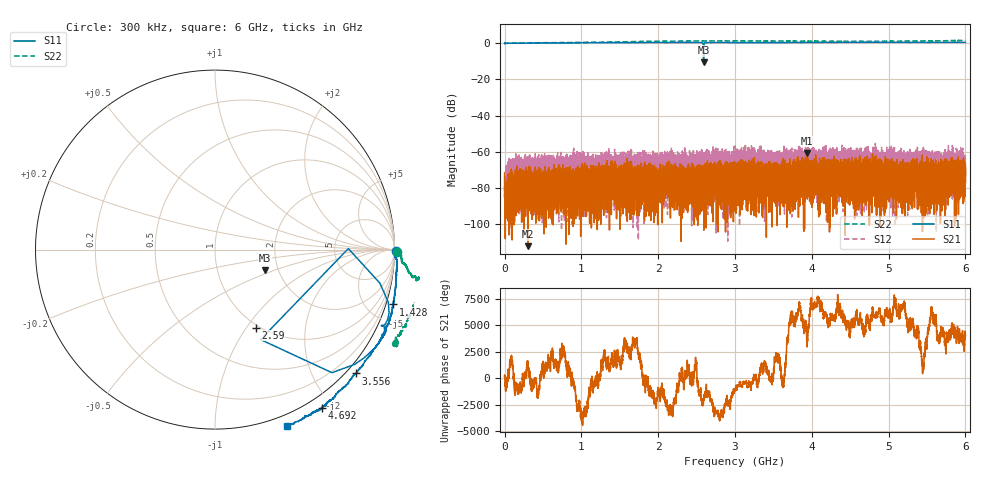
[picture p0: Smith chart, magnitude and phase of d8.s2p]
!Agilent Technologies,N5230C,SG49000117,A.08.50.07
!Agilent N5230C: A.08.50.07
!Date: Thursday, May 16, 2024 17:43:49
!Correction: S11(Full 2 Port(1,2))
!S21(Full 2 Port(1,2))
!S12(Full 2 Port(1,2))
!S22(Full 2 Port(1,2))
!S2P File: Measurements: S11, S21, S12, S22:
# Hz S  MA  R 50
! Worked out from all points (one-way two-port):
!   20001 points, 300 kHz to 6 GHz, reference 50 ohm
!   highest |S21| = -60.58 dB at 3.933 GHz (marker M1); lowest = -112.1 dB at 303 MHz (marker M2)
!   lowest |S11| = -10.4 dB at 2.591 GHz (marker M3), VSWR 1.86, Z = 85 - j21.7 ohm
!   |S11| at or under -10 dB: 2.59088 GHz to 2.591408 GHz (527.4 kHz wide, 0.0204 % of centre)
!   |S22| runs from -0.3 to 1.6 dB; largest |S21 - S12| = 0.0018
!   S11 on the Smith chart (normalised r, x): 300 kHz: open; 1.428 GHz: -0.80, -6.53; 2.59 GHz: 0.96, -1.10; 3.556 GHz: -0.17, -2.64; 4.692 GHz: -0.14, -1.87; 6 GHz: -0.10, -1.48
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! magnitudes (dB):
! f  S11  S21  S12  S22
! 300 kHz  0.1  -71.7  -74.1  0.1
! 30.6 MHz  0.0  -84.3  -77.2  0.0
! 78.3 MHz  0.0  -78.0  -71.5  0.0
! 303 MHz  0.1  -112.1  -67.2  0.2
! 1 GHz  0.2  -73.0  -75.6  0.5
! 1.155 GHz  0.3  -73.1  -69.1  0.6
! 1.428 GHz  0.3  -73.2  -70.0  0.8
! 2 GHz  0.4  -74.2  -63.8  1.1
! 2.154 GHz  0.4  -70.6  -62.8  1.2
! 2.241 GHz  0.5  -76.4  -62.7  1.2
! 2.334 GHz  0.5  -78.1  -67.9  1.2
! 2.59 GHz  -6.2  -74.2  -71.3  1.3
! 2.591 GHz  -10.4  -70.2  -72.0  1.3
! 3 GHz  0.4  -73.4  -69.0  1.3
! 3.556 GHz  0.4  -73.4  -69.2  1.2
! 3.933 GHz  0.4  -60.6  -71.7  1.1
! 4 GHz  0.5  -68.9  -85.3  1.2
! 4.692 GHz  0.5  -71.1  -61.8  1.0
! 5 GHz  0.5  -75.0  -63.9  1.1
! 5.156 GHz  0.5  -74.4  -76.8  1.2
! 5.94 GHz  0.5  -76.0  -66.3  1.5
! 6 GHz  0.5  -69.7  -75.4  1.5
